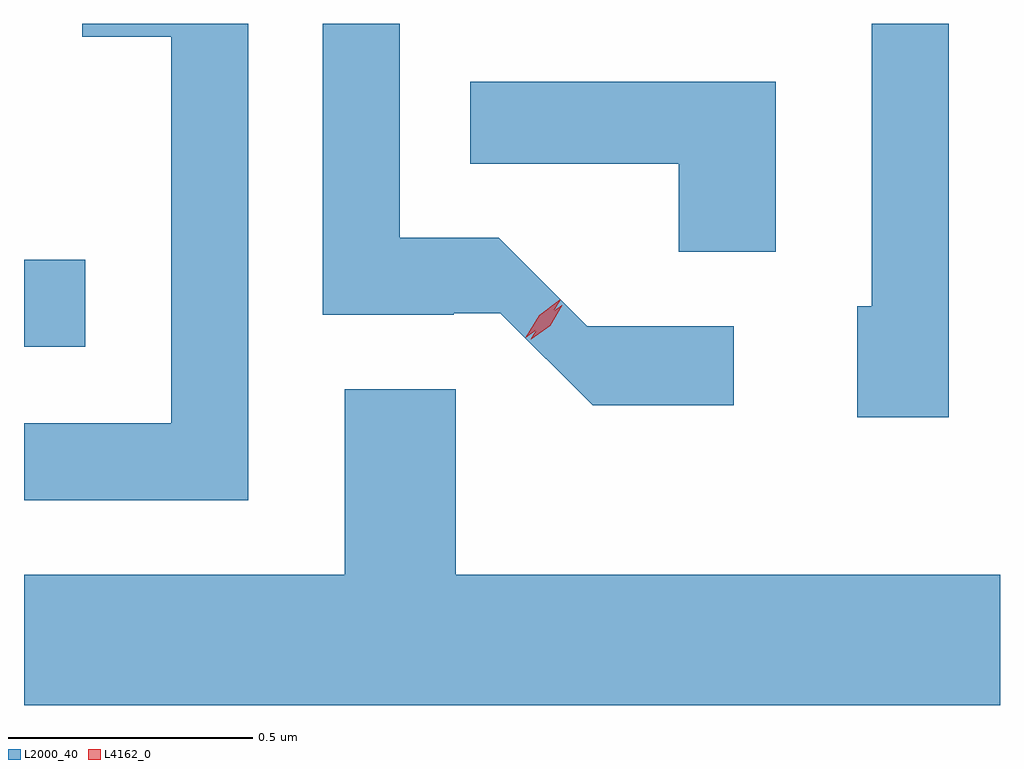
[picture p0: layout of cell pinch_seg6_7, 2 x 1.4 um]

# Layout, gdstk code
import gdstk
lib = gdstk.Library(unit=1e-6, precision=1e-09)
def R(c, l, rs):  # rectangles x0, y0, x1, y1
    for r in rs: c.add(gdstk.rectangle(r[:2], r[2:], *l))
def P(c, l, *ps):  # polygons
    for p in ps: c.add(gdstk.Polygon(p, *l))
L2000_40 = (2000, 40)
L4162_0 = (4162, 0)

pinch_seg6_7 = lib.new_cell('pinch_seg6_7')
R(pinch_seg6_7, L2000_40, [(835.924,1646.231,836.049,1646.409)])
P(pinch_seg6_7, L2000_40, [(836.384,1646.893),(836.043,1646.893),(836.043,1646.866),(836.226,1646.866),(836.226,1646.074),(835.924,1646.074),(835.924,1645.916),(836.384,1645.916)],
  [(837.819,1646.893),(837.661,1646.893),(837.661,1646.314),(837.631,1646.314),(837.631,1646.086),(837.819,1646.086)],
  [(837.378,1646.273),(837.078,1646.273),(836.897,1646.454),(836.694,1646.454),(836.694,1646.893),(836.536,1646.893),(836.536,1646.296),(836.805,1646.296),(836.805,1646.3),(836.9,1646.3),(837.089,1646.111),(837.378,1646.111)],
  [(837.464,1646.774),(836.838,1646.774),(836.838,1646.606),(837.266,1646.606),(837.266,1646.426),(837.464,1646.426)],
  [(837.924,1645.764),(836.809,1645.764),(836.809,1646.144),(836.581,1646.144),(836.581,1645.764),(835.924,1645.764),(835.924,1645.496),(837.924,1645.496)])
P(pinch_seg6_7, L4162_0, [(836.952,1646.249),(836.952,1646.25),(836.98,1646.295),(837.022,1646.327),(837.023,1646.327),(837.023,1646.326),(836.995,1646.281),(836.952,1646.249)],
  [(836.962,1646.246),(836.962,1646.246),(836.988,1646.288),(837.026,1646.316),(837.027,1646.316),(837.027,1646.316),(837.002,1646.274),(836.963,1646.246)])

lib.write_gds('pinch_seg6_7.gds')
